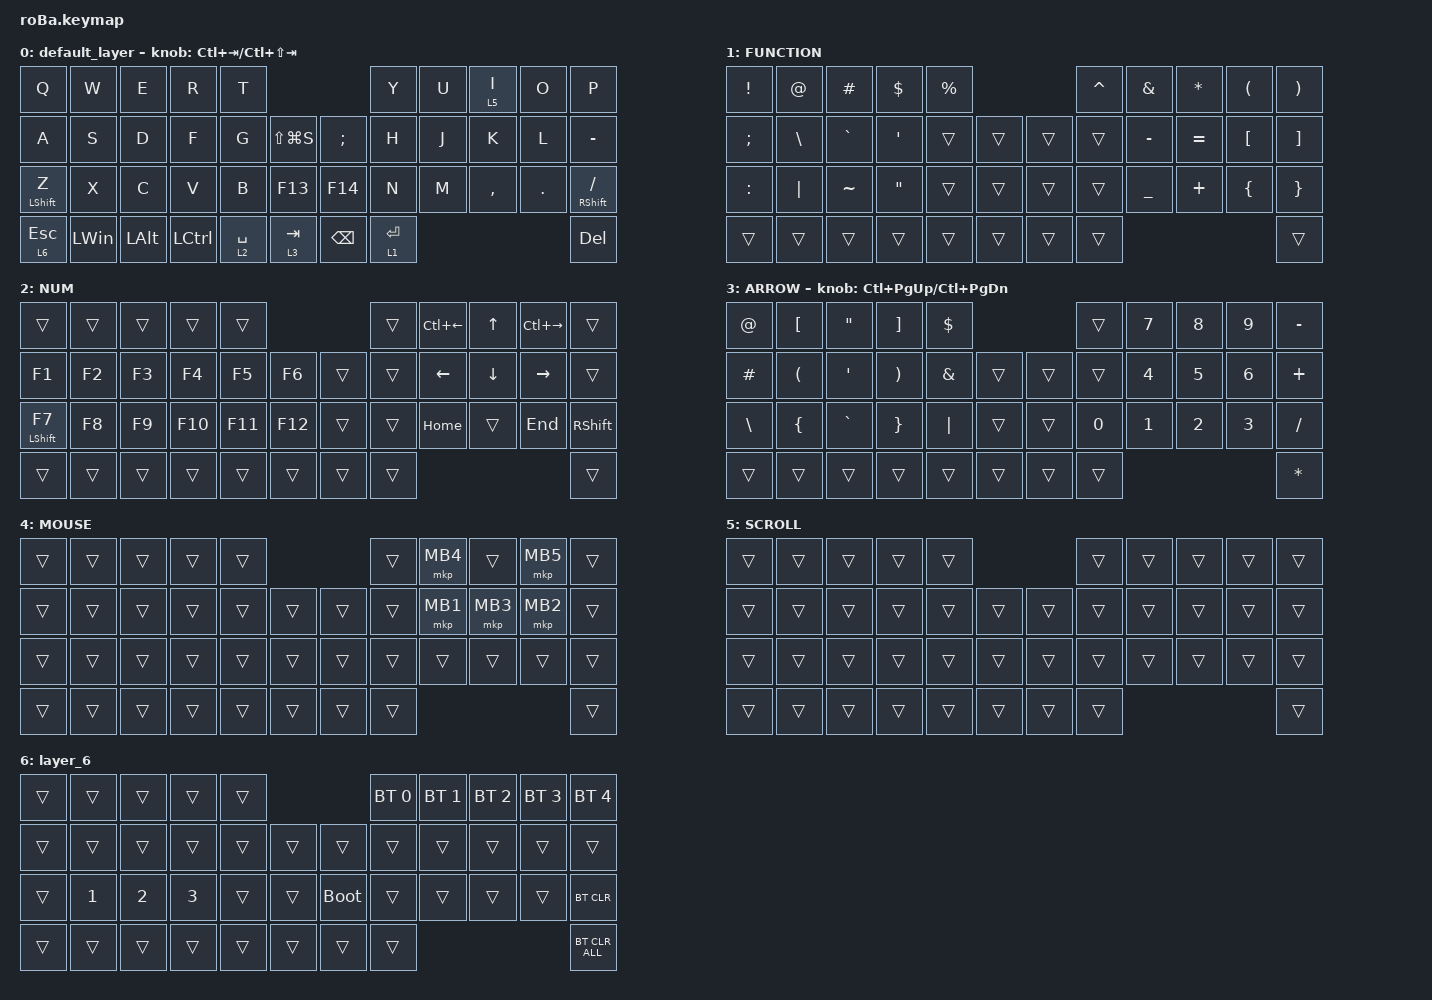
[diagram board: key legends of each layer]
#include <behaviors.dtsi>
#include <dt-bindings/zmk/bt.h>
#include <dt-bindings/zmk/keys.h>
#include <dt-bindings/zmk/pointing.h>

&mt {
    flavor = "balanced";
    quick-tap-ms = <0>;
};

&trackball {
    automouse-layer = <4>;
    scroll-layers = <5>;

    // arrows {
    //     layers = <3>;
    //     bindings =
    //         <&kp RIGHT_ARROW>,
    //         <&kp LEFT_ARROW>,
    //         <&kp UP_ARROW>,
    //         <&kp DOWN_ARROW>;
    //     tick = <10>;
    //     wait-ms = <5>;
    //     tap-ms = <5>;
    // };
};

/ {
    combos {
        compatible = "zmk,combos";

        tab {
            bindings = <&kp TAB>;
            key-positions = <11 10>;
        };

        shift_tab {
            bindings = <&kp LS(TAB)>;
            key-positions = <12 13>;
        };

        esc {
            bindings = <&kp ESCAPE>;
            key-positions = <0 1>;
        };
    };

    macros {
        to_layer_0: to_layer_0 {
            compatible = "zmk,behavior-macro-one-param";
            #binding-cells = <1>;
            bindings = <&to 0 &macro_param_1to1 &kp MACRO_PLACEHOLDER>;
            label = "TO_LAYER_0";
        };
    };

    behaviors {
        lt_to_layer_0: lt_to_layer_0 {
            compatible = "zmk,behavior-hold-tap";
            label = "LAYER_TAP_TO_0";
            bindings = <&mo>, <&to_layer_0>;

            #binding-cells = <2>;
            tapping-term-ms = <200>;
        };
    };

    keymap {
        compatible = "zmk,keymap";

        default_layer {
            bindings = <
&kp Q             &kp W         &kp E         &kp R      &kp T                                                 &kp Y        &kp U  &lt 5 I    &kp O    &kp P
&kp A             &kp S         &kp D         &kp F      &kp G        &kp LS(LG(S))             &kp SEMI       &kp H        &kp J  &kp K      &kp L    &kp MINUS
&mt LEFT_SHIFT Z  &kp X         &kp C         &kp V      &kp B        &kp F13                   &kp F14        &kp N        &kp M  &kp COMMA  &kp DOT  &mt RIGHT_SHIFT SLASH
&lt 6 ESC         &kp LEFT_WIN  &kp LEFT_ALT  &kp LCTRL  &lt 2 SPACE  &lt_to_layer_0 3 TAB      &kp BACKSPACE  &lt 1 ENTER                             &kp DEL
            >;

            sensor-bindings = <&inc_dec_kp LC(TAB) LC(LS(TAB))>;
        };

        FUNCTION {
            bindings = <
&kp EXCL   &kp AT_SIGN    &kp HASH   &kp DOLLAR         &kp PRCNT                      &kp CARET  &kp AMPS   &kp STAR   &kp LEFT_PARENTHESIS  &kp RIGHT_PARENTHESIS
&kp SEMI   &kp BACKSLASH  &kp GRAVE  &kp SINGLE_QUOTE   &trans     &trans      &trans  &trans     &kp MINUS  &kp EQUAL  &kp LEFT_BRACKET      &kp RIGHT_BRACKET
&kp COLON  &kp PIPE       &kp TILDE  &kp DOUBLE_QUOTES  &trans     &trans      &trans  &trans     &kp UNDER  &kp PLUS   &kp LEFT_BRACE        &kp RIGHT_BRACE
&trans     &trans         &trans     &trans             &trans     &trans      &trans  &trans                                                 &trans
            >;
        };

        NUM {
            bindings = <
&trans             &trans  &trans  &trans   &trans                        &trans  &kp LC(LEFT_ARROW)  &kp UP_ARROW    &kp LC(RIGHT_ARROW)  &trans
&kp F1             &kp F2  &kp F3  &kp F4   &kp F5   &kp F6       &trans  &trans  &kp LEFT_ARROW      &kp DOWN_ARROW  &kp RIGHT_ARROW      &trans
&mt LEFT_SHIFT F7  &kp F8  &kp F9  &kp F10  &kp F11  &kp F12      &trans  &trans  &kp HOME            &trans          &kp END              &kp RIGHT_SHIFT
&trans             &trans  &trans  &trans   &trans   &trans       &trans  &trans                                                           &trans
            >;
        };

        ARROW {
            bindings = <
&kp AT_SIGN    &kp LEFT_BRACKET      &kp DOUBLE_QUOTES  &kp RIGHT_BRACKET      &kp DOLLAR                         &trans        &kp N7        &kp NUMBER_8  &kp NUMBER_9  &kp MINUS
&kp HASH       &kp LEFT_PARENTHESIS  &kp SINGLE_QUOTE   &kp RIGHT_PARENTHESIS  &kp AMPERSAND  &trans      &trans  &trans        &kp NUMBER_4  &kp N5        &kp NUMBER_6  &kp PLUS
&kp BACKSLASH  &kp LEFT_BRACE        &kp GRAVE          &kp RIGHT_BRACE        &kp PIPE       &trans      &trans  &kp NUMBER_0  &kp NUMBER_1  &kp NUMBER_2  &kp NUMBER_3  &kp FSLH
&trans         &trans                &trans             &trans                 &trans         &trans      &trans  &trans                                                  &kp STAR
            >;

            sensor-bindings = <&inc_dec_kp LC(PAGE_UP) LC(PAGE_DOWN)>;
        };

        MOUSE {
            bindings = <
&trans  &trans  &trans  &trans  &trans                      &trans  &mkp MB4  &trans    &mkp MB5  &trans
&trans  &trans  &trans  &trans  &trans  &trans      &trans  &trans  &mkp MB1  &mkp MB3  &mkp MB2  &trans
&trans  &trans  &trans  &trans  &trans  &trans      &trans  &trans  &trans    &trans    &trans    &trans
&trans  &trans  &trans  &trans  &trans  &trans      &trans  &trans                                &trans
            >;
        };

        SCROLL {
            bindings = <
&trans  &trans  &trans  &trans  &trans                      &trans  &trans  &trans  &trans  &trans
&trans  &trans  &trans  &trans  &trans  &trans      &trans  &trans  &trans  &trans  &trans  &trans
&trans  &trans  &trans  &trans  &trans  &trans      &trans  &trans  &trans  &trans  &trans  &trans
&trans  &trans  &trans  &trans  &trans  &trans      &trans  &trans                          &trans
            >;
        };

        layer_6 {
            bindings = <
&trans  &trans        &trans        &trans        &trans                           &bt BT_SEL 0  &bt BT_SEL 1  &bt BT_SEL 2  &bt BT_SEL 3  &bt BT_SEL 4
&trans  &trans        &trans        &trans        &trans  &trans      &trans       &trans        &trans        &trans        &trans        &trans
&trans  &kp NUMBER_1  &kp NUMBER_2  &kp NUMBER_3  &trans  &trans      &bootloader  &trans        &trans        &trans        &trans        &bt BT_CLR
&trans  &trans        &trans        &trans        &trans  &trans      &trans       &trans                                                  &bt BT_CLR_ALL
            >;
        };
    };
};
